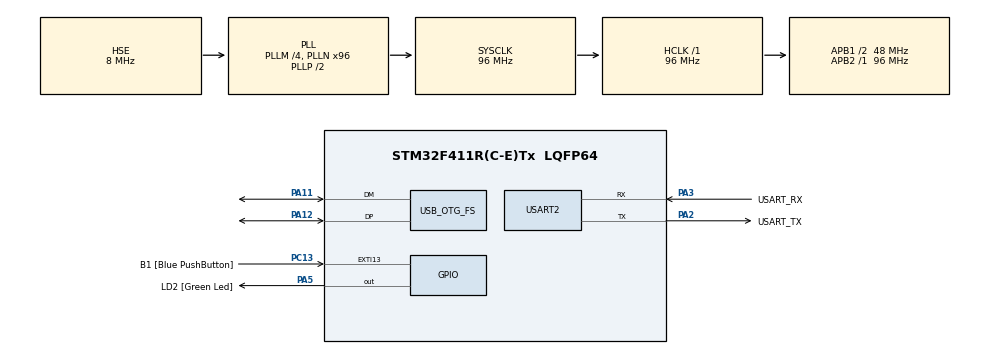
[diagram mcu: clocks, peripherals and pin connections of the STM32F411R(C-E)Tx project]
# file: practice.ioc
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Dma.Request0=USART2_RX
Dma.Request1=USART2_TX
Dma.USART2_RX.0.Direction=DMA_PERIPH_TO_MEMORY
Dma.USART2_RX.0.FIFOMode=DMA_FIFOMODE_DISABLE
Dma.USART2_RX.0.Instance=DMA1_Stream5
Dma.USART2_RX.0.MemDataAlignment=DMA_MDATAALIGN_BYTE
Dma.USART2_RX.0.MemInc=DMA_MINC_ENABLE
Dma.USART2_RX.0.Mode=DMA_NORMAL
Dma.USART2_RX.0.PeriphDataAlignment=DMA_PDATAALIGN_BYTE
Dma.USART2_RX.0.PeriphInc=DMA_PINC_DISABLE
Dma.USART2_RX.0.Priority=DMA_PRIORITY_VERY_HIGH
Dma.USART2_TX.1.Direction=DMA_MEMORY_TO_PERIPH
Dma.USART2_TX.1.FIFOMode=DMA_FIFOMODE_DISABLE
Dma.USART2_TX.1.Instance=DMA1_Stream6
Dma.USART2_TX.1.MemDataAlignment=DMA_MDATAALIGN_BYTE
Dma.USART2_TX.1.MemInc=DMA_MINC_ENABLE
Dma.USART2_TX.1.Mode=DMA_NORMAL
Dma.USART2_TX.1.PeriphDataAlignment=DMA_PDATAALIGN_BYTE
Dma.USART2_TX.1.PeriphInc=DMA_PINC_DISABLE
Dma.USART2_TX.1.Priority=DMA_PRIORITY_MEDIUM
Mcu.Family=STM32F4
Mcu.Name=STM32F411R(C-E)Tx
Mcu.Package=LQFP64
NVIC.DMA1_Stream5_IRQn=true\:0\:0\:false\:false\:true\:false\:true\:true
NVIC.DMA1_Stream6_IRQn=true\:0\:0\:false\:false\:true\:false\:true\:true
NVIC.OTG_FS_IRQn=true\:0\:0\:false\:false\:true\:false\:true\:true
NVIC.PriorityGroup=NVIC_PRIORITYGROUP_4
NVIC.USART2_IRQn=true\:0\:0\:false\:false\:true\:true\:true\:true
PA11.Mode=Device_Only
PA11.Signal=USB_OTG_FS_DM
PA12.Mode=Device_Only
PA12.Signal=USB_OTG_FS_DP
PA13.GPIO_Label=TMS
PA13.Mode=Serial_Wire
PA13.Signal=SYS_JTMS-SWDIO
PA14.GPIO_Label=TCK
PA14.Mode=Serial_Wire
PA14.Signal=SYS_JTCK-SWCLK
PA2.GPIO_Label=USART_TX
PA2.Mode=Asynchronous
PA2.Signal=USART2_TX
PA3.GPIO_Label=USART_RX
PA3.Mode=Asynchronous
PA3.Signal=USART2_RX
PA5.GPIO_Label=LD2 [Green Led]
PA5.Signal=GPIO_Output
PB3.GPIO_Label=SWO
PB3.Signal=SYS_JTDO-SWO
PB8.Signal=I2C1_SCL
PB9.Signal=I2C1_SDA
PC13-ANTI_TAMP.GPIO_Label=B1 [Blue PushButton]
PC13-ANTI_TAMP.GPIO_ModeDefaultEXTI=GPIO_MODE_IT_FALLING
PC13-ANTI_TAMP.Signal=GPXTI13
PC14-OSC32_IN.Mode=LSE-External-Oscillator
PC14-OSC32_IN.Signal=RCC_OSC32_IN
PC15-OSC32_OUT.Mode=LSE-External-Oscillator
PC15-OSC32_OUT.Signal=RCC_OSC32_OUT
PH0\ -\ OSC_IN.Mode=HSE-External-Clock-Source
PH0\ -\ OSC_IN.Signal=RCC_OSC_IN
PH1\ -\ OSC_OUT.Mode=HSE-External-Clock-Source
PH1\ -\ OSC_OUT.Signal=RCC_OSC_OUT
ProjectManager.HeapSize=0x200
ProjectManager.StackSize=0x400
ProjectManager.TargetToolchain=STM32CubeIDE
RCC.48MHZClocksFreq_Value=48000000
RCC.AHBFreq_Value=96000000
RCC.APB1CLKDivider=RCC_HCLK_DIV2
RCC.APB1Freq_Value=48000000
RCC.APB1TimFreq_Value=96000000
RCC.APB2Freq_Value=96000000
RCC.APB2TimFreq_Value=96000000
RCC.CortexFreq_Value=96000000
RCC.FLatency-AdvancedSettings=FLASH_LATENCY_3
RCC.HCLKFreq_Value=96000000
RCC.HSE_VALUE=8000000
RCC.HSI_VALUE=16000000
RCC.PLLM=4
RCC.PLLN=96
RCC.SYSCLKFreq_VALUE=96000000
RCC.SYSCLKSource=RCC_SYSCLKSOURCE_PLLCLK
RCC.VCOOutputFreq_Value=192000000
USART2.VirtualMode=VM_ASYNC
USB_DEVICE.CLASS_NAME_FS=CDC
USB_DEVICE.VirtualMode=Cdc
USB_DEVICE.VirtualModeFS=Cdc_FS
USB_OTG_FS.VirtualMode=Device_Only
VP_USB_DEVICE_VS_USB_DEVICE_CDC_FS.Mode=CDC_FS
board=NUCLEO-F411RE

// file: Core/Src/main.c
/* USER CODE BEGIN Header */
/**
 ******************************************************************************
 * @file           : main.c
 * @brief          : Main program body
 ******************************************************************************
 * @attention
 *
 * Copyright (c) 2024 STMicroelectronics.
 * All rights reserved.
 *
 * This software is licensed under terms that can be found in the LICENSE file
 * in the root directory of this software component.
 * If no LICENSE file comes with this software, it is provided AS-IS.
 *
 ******************************************************************************
 */
/* USER CODE END Header */
#include "main.h"
#include "dma.h"
#include "usart.h"
#include "usb_device.h"
#include "gpio.h"

/* USER CODE BEGIN Includes */
#include "bignum.h"
#include "montgomery.h"
#include "rsa.h"
#include "logging.h"
/* USER CODE END Includes */

/* USER CODE BEGIN PTD */
typedef struct {
    uint8_t hours;
    uint8_t minutes;
    uint8_t seconds;
} packet_time_t;

typedef struct {
	uint16_t year;
	uint8_t month;
	uint8_t day;
} packet_date_t;

typedef struct {
    uint32_t plc_number;
    packet_time_t time;
    packet_date_t date;
} packet_t;
/* USER CODE END PTD */

/* USER CODE BEGIN PV */
const char pub_data[] =
        "-----BEGIN PUBLIC KEY-----"
        "MFwwDQYJKoZIhvcNAQEBBQADSwAwSAJBAOIkleXcUNZTiBRuAxYU6dCEKJLW6ZET"
        "FE81NUIVffzm+E75/mKGSkpgmb5KamsNo7SEgEAdKro0RkZZ0ia4Rc8CAwEAAQ=="
        "-----END PUBLIC KEY-----";

const char pvt_data[] =
        "-----BEGIN PRIVATE KEY-----"
        "MIIBVQIBADANBgkqhkiG9w0BAQEFAASCAT8wggE7AgEAAkEA4iSV5dxQ1lOIFG4D"
        "FhTp0IQoktbpkRMUTzU1QhV9/Ob4Tvn+YoZKSmCZvkpqaw2jtISAQB0qujRGRlnS"
        "JrhFzwIDAQABAkEApRBHSYxShN5byW2zWv7Q255bbzLnMTlX7ajMwvulBl7ArgD+"
        "mjD30CzkN3C5m3MEuqC4Yz+/C3AgndnCRWrCIQIhAP8b2kDrrxXf9oloIKVHs85Q"
        "Trjxuh8VINHPWZIc+lWrAiEA4u7UEKH6G6RsDXHmoj6ekZwYOLJKSY6Em/h53BMB"
        "ZG0CIDtkpqmatYaoP+O5xG/2g5wzAkD4tlZqOtveJIJqELZFAiEAy029bN1ALW2D"
        "ZBQr1CSXeMnIJVsNFJL6mKTlv1TDhY0CIBFMJL5vaKTx5TSEEZPRB/NmbeV7joIq"
        "GLq7YHwu01m2"
        "-----END PRIVATE KEY-----";

rsa_pub_key_t pub_key;
rsa_pvt_key_t pvt_key;
/* USER CODE END PV */

void SystemClock_Config(void);

/* USER CODE BEGIN 0 */
void usart_print_packet(packet_t packet) {
  usart_printf("%u) %02u.%02u.%02u %02u:%02u:%02u\r\n", packet.plc_number, packet.date.year, packet.date.month, packet.date.day, packet.time.hours, packet.time.minutes, packet.time.seconds);
}
/* USER CODE END 0 */

int main(void)
{

  /* MCU Configuration--------------------------------------------------------*/

  /* Reset of all peripherals, Initializes the Flash interface and the Systick. */
  HAL_Init();

  /* Configure the system clock */
  SystemClock_Config();

  /* Initialize all configured peripherals */
  MX_GPIO_Init();
  MX_DMA_Init();
  MX_USART2_UART_Init();
  MX_USB_DEVICE_Init();

  /* Infinite loop */
  /* USER CODE BEGIN WHILE */
  // Парсинг ключей
  import_pub_key(&pub_key, pub_data);
  import_pvt_key(&pvt_key, pvt_data);

  // Инициализация пространств montgomery
  montg_t montg_domain;
  montg_init(&montg_domain, &pub_key.mod);

  // Инициализация переменных
  const char test_msg[BN_MSG_LEN + 1] = "";
  char out_enc[BN_BYTE_SIZE * 2 + 1] = "", out_dec[BN_MSG_LEN + 1] = "";
  char out_sign[BN_BYTE_SIZE * 2 + 1] = "", out_verify[BN_MSG_LEN + 1] = "";

  // Создание передаваемого пакета
  packet_t test_enc_packet;
  test_enc_packet.plc_number = 21;
  test_enc_packet.time.hours = 11;
  test_enc_packet.time.minutes = 22;
  test_enc_packet.time.seconds = 59;
  test_enc_packet.date.year = 2024;
  test_enc_packet.date.month = 3;
  test_enc_packet.date.day = 28;

  // Шифрование сообщения публичным ключом
  usart_printf("test packet: ");
  HAL_Delay(1000);
  usart_print_packet(test_enc_packet);
  memmove((char *) test_msg, &test_enc_packet, sizeof(packet_t));
  encrypt_buf(&pub_key, &montg_domain, test_msg, sizeof(test_msg), out_enc, sizeof(out_enc));

  // Дешифрование сообщения приватным ключом
  packet_t test_dec_packet;
  decrypt_buf(&pvt_key, &montg_domain, out_enc, strlen(out_enc), out_dec, sizeof(out_dec));
  memmove(&test_dec_packet, out_dec, sizeof(packet_t));
  usart_printf("decrypt packet: ");
  HAL_Delay(1000);
  usart_print_packet(test_dec_packet);
  HAL_Delay(1000);

  test_enc_packet = test_dec_packet;
  memset((char*)test_msg, ' ', sizeof(test_msg));

  // Шифрование сообщения приватным ключом / создание подписи
  usart_printf("sign packet: ");
  HAL_Delay(1000);
  usart_print_packet(test_enc_packet);
  memmove((char *) test_msg, &test_enc_packet, sizeof(packet_t));
  sign_buf(&pvt_key, &montg_domain, test_msg, sizeof(test_msg), out_sign, sizeof(out_sign));

  // Дешифрование сообщения публичным ключом / проверка подписи
  verify_buf(&pub_key, &montg_domain, out_sign, strlen(out_sign), out_verify, sizeof(out_verify));
  memmove(&test_dec_packet, out_verify, sizeof(packet_t));
  usart_printf("verify packet: ");
  HAL_Delay(1000);
  usart_print_packet(test_dec_packet);

  while (1) {
    /* USER CODE END WHILE */

  }
}

void SystemClock_Config(void)
{
  RCC_OscInitTypeDef RCC_OscInitStruct = {0};
  RCC_ClkInitTypeDef RCC_ClkInitStruct = {0};

  /** Configure the main internal regulator output voltage
  */
  __HAL_RCC_PWR_CLK_ENABLE();
  __HAL_PWR_VOLTAGESCALING_CONFIG(PWR_REGULATOR_VOLTAGE_SCALE1);

  /** Initializes the RCC Oscillators according to the specified parameters
  * in the RCC_OscInitTypeDef structure.
  */
  RCC_OscInitStruct.OscillatorType = RCC_OSCILLATORTYPE_HSE;
  RCC_OscInitStruct.HSEState = RCC_HSE_BYPASS;
  RCC_OscInitStruct.PLL.PLLState = RCC_PLL_ON;
  RCC_OscInitStruct.PLL.PLLSource = RCC_PLLSOURCE_HSE;
  RCC_OscInitStruct.PLL.PLLM = 4;
  RCC_OscInitStruct.PLL.PLLN = 96;
  RCC_OscInitStruct.PLL.PLLP = RCC_PLLP_DIV2;
  RCC_OscInitStruct.PLL.PLLQ = 4;
  if (HAL_RCC_OscConfig(&RCC_OscInitStruct) != HAL_OK)
  {
    Error_Handler();
  }

  /** Initializes the CPU, AHB and APB buses clocks
  */
  RCC_ClkInitStruct.ClockType = RCC_CLOCKTYPE_HCLK|RCC_CLOCKTYPE_SYSCLK
                              |RCC_CLOCKTYPE_PCLK1|RCC_CLOCKTYPE_PCLK2;
  RCC_ClkInitStruct.SYSCLKSource = RCC_SYSCLKSOURCE_PLLCLK;
  RCC_ClkInitStruct.AHBCLKDivider = RCC_SYSCLK_DIV1;
  RCC_ClkInitStruct.APB1CLKDivider = RCC_HCLK_DIV2;
  RCC_ClkInitStruct.APB2CLKDivider = RCC_HCLK_DIV1;

  if (HAL_RCC_ClockConfig(&RCC_ClkInitStruct, FLASH_LATENCY_3) != HAL_OK)
  {
    Error_Handler();
  }
}

void Error_Handler(void)
{
	__disable_irq();
	while (1) {
	}
}
